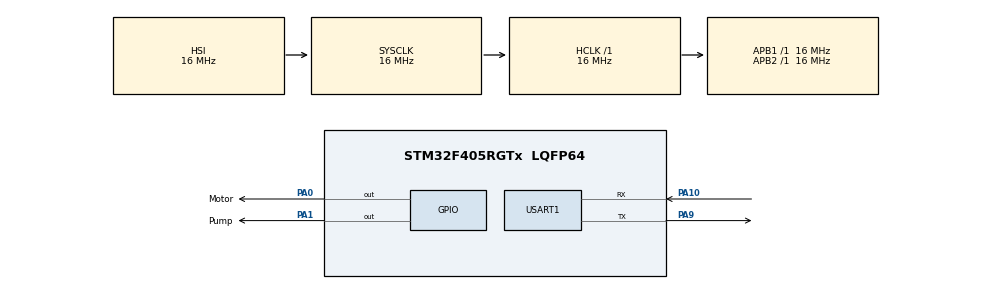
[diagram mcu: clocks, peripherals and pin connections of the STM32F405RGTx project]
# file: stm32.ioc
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FREERTOS.Tasks01=eps8266Task,24,128,StartDefaultTask,Default,NULL,Dynamic,NULL,NULL
Mcu.Family=STM32F4
Mcu.Name=STM32F405RGTx
Mcu.Package=LQFP64
NVIC.PriorityGroup=NVIC_PRIORITYGROUP_4
NVIC.TIM1_UP_TIM10_IRQn=true\:15\:0\:false\:false\:true\:false\:false\:true\:true
NVIC.TimeBase=TIM1_UP_TIM10_IRQn
NVIC.TimeBaseIP=TIM1
NVIC.USART1_IRQn=true\:5\:0\:false\:false\:true\:true\:true\:true\:true
PA0-WKUP.GPIO_Label=Motor
PA0-WKUP.Signal=GPIO_Output
PA1.GPIO_Label=Pump
PA1.Signal=GPIO_Output
PA10.Mode=Asynchronous
PA10.Signal=USART1_RX
PA13.Mode=Serial_Wire
PA13.Signal=SYS_JTMS-SWDIO
PA14.Mode=Serial_Wire
PA14.Signal=SYS_JTCK-SWCLK
PA9.Mode=Asynchronous
PA9.Signal=USART1_TX
PH0-OSC_IN.Mode=HSE-External-Oscillator
PH0-OSC_IN.Signal=RCC_OSC_IN
PH1-OSC_OUT.Mode=HSE-External-Oscillator
PH1-OSC_OUT.Signal=RCC_OSC_OUT
ProjectManager.HeapSize=0x200
ProjectManager.StackSize=0x400
ProjectManager.TargetToolchain=STM32CubeIDE
RCC.AHBFreq_Value=16000000
RCC.APB1Freq_Value=16000000
RCC.APB2Freq_Value=16000000
RCC.CortexFreq_Value=16000000
RCC.HSE_VALUE=25000000
RCC.HSI_VALUE=16000000
RCC.LSE_VALUE=32768
RCC.SYSCLKFreq_VALUE=16000000
RCC.VCOOutputFreq_Value=192000000
USART1.VirtualMode=VM_ASYNC
VP_FREERTOS_VS_CMSIS_V2.Mode=CMSIS_V2
VP_SYS_VS_tim1.Mode=TIM1
board=custom

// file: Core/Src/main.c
/* USER CODE BEGIN Header */
/**
  ******************************************************************************
  * @file           : main.c
  * @brief          : Main program body
  ******************************************************************************
  * @attention
  *
  * Copyright (c) 2026 STMicroelectronics.
  * All rights reserved.
  *
  * This software is licensed under terms that can be found in the LICENSE file
  * in the root directory of this software component.
  * If no LICENSE file comes with this software, it is provided AS-IS.
  *
  ******************************************************************************
  */
/* USER CODE END Header */
#include "main.h"
#include "cmsis_os.h"

/* USER CODE BEGIN Includes */
#include <string.h>
/* USER CODE END Includes */

/* USER CODE BEGIN PTD */
osMessageQueueId_t uartQueueHandle; // backup data
uint8_t rx_data;
/* USER CODE END PTD */

UART_HandleTypeDef huart1;

/* Definitions for eps8266Task */
osThreadId_t eps8266TaskHandle;
const osThreadAttr_t eps8266Task_attributes = {
  .name = "eps8266Task",
  .stack_size = 128 * 4,
  .priority = (osPriority_t) osPriorityNormal,
};

void SystemClock_Config(void);
static void MX_GPIO_Init(void);
static void MX_USART1_UART_Init(void);
void StartDefaultTask(void *argument);

int main(void)
{

  /* MCU Configuration--------------------------------------------------------*/

  /* Reset of all peripherals, Initializes the Flash interface and the Systick. */
  HAL_Init();

  /* Configure the system clock */
  SystemClock_Config();

  /* Initialize all configured peripherals */
  MX_GPIO_Init();
  MX_USART1_UART_Init();
  /* USER CODE BEGIN 2 */
  HAL_UART_Receive_IT(&huart1, &rx_data, 1);
  /* USER CODE END 2 */

  /* Init scheduler */
  osKernelInitialize();

  /* USER CODE BEGIN RTOS_QUEUES */
  /* add queues, ... */
  uartQueueHandle = osMessageQueueNew(64, sizeof(uint8_t), NULL);

  /* USER CODE END RTOS_QUEUES */

  /* Create the thread(s) */
  /* creation of eps8266Task */
  eps8266TaskHandle = osThreadNew(StartDefaultTask, NULL, &eps8266Task_attributes);

  /* Start scheduler */
  osKernelStart();
  /* We should never get here as control is now taken by the scheduler */
  /* Infinite loop */
  while (1)
  {

  }
}

void SystemClock_Config(void)
{
  RCC_OscInitTypeDef RCC_OscInitStruct = {0};
  RCC_ClkInitTypeDef RCC_ClkInitStruct = {0};

  /** Configure the main internal regulator output voltage
  */
  __HAL_RCC_PWR_CLK_ENABLE();
  __HAL_PWR_VOLTAGESCALING_CONFIG(PWR_REGULATOR_VOLTAGE_SCALE1);

  /** Initializes the RCC Oscillators according to the specified parameters
  * in the RCC_OscInitTypeDef structure.
  */
  RCC_OscInitStruct.OscillatorType = RCC_OSCILLATORTYPE_HSI;
  RCC_OscInitStruct.HSIState = RCC_HSI_ON;
  RCC_OscInitStruct.HSICalibrationValue = RCC_HSICALIBRATION_DEFAULT;
  RCC_OscInitStruct.PLL.PLLState = RCC_PLL_NONE;
  if (HAL_RCC_OscConfig(&RCC_OscInitStruct) != HAL_OK)
  {
    Error_Handler();
  }

  /** Initializes the CPU, AHB and APB buses clocks
  */
  RCC_ClkInitStruct.ClockType = RCC_CLOCKTYPE_HCLK|RCC_CLOCKTYPE_SYSCLK
                              |RCC_CLOCKTYPE_PCLK1|RCC_CLOCKTYPE_PCLK2;
  RCC_ClkInitStruct.SYSCLKSource = RCC_SYSCLKSOURCE_HSI;
  RCC_ClkInitStruct.AHBCLKDivider = RCC_SYSCLK_DIV1;
  RCC_ClkInitStruct.APB1CLKDivider = RCC_HCLK_DIV1;
  RCC_ClkInitStruct.APB2CLKDivider = RCC_HCLK_DIV1;

  if (HAL_RCC_ClockConfig(&RCC_ClkInitStruct, FLASH_LATENCY_0) != HAL_OK)
  {
    Error_Handler();
  }
}

static void MX_USART1_UART_Init(void)
{

  huart1.Instance = USART1;
  huart1.Init.BaudRate = 115200;
  huart1.Init.WordLength = UART_WORDLENGTH_8B;
  huart1.Init.StopBits = UART_STOPBITS_1;
  huart1.Init.Parity = UART_PARITY_NONE;
  huart1.Init.Mode = UART_MODE_TX_RX;
  huart1.Init.HwFlowCtl = UART_HWCONTROL_NONE;
  huart1.Init.OverSampling = UART_OVERSAMPLING_16;
  if (HAL_UART_Init(&huart1) != HAL_OK)
  {
    Error_Handler();
  }

}

static void MX_GPIO_Init(void)
{
  GPIO_InitTypeDef GPIO_InitStruct = {0};

  /* GPIO Ports Clock Enable */
  __HAL_RCC_GPIOH_CLK_ENABLE();
  __HAL_RCC_GPIOA_CLK_ENABLE();

  /*Configure GPIO pin Output Level */
  HAL_GPIO_WritePin(GPIOA, Motor_Pin|Pump_Pin, GPIO_PIN_RESET);

  /*Configure GPIO pins : Motor_Pin Pump_Pin */
  GPIO_InitStruct.Pin = Motor_Pin|Pump_Pin;
  GPIO_InitStruct.Mode = GPIO_MODE_OUTPUT_PP;
  GPIO_InitStruct.Pull = GPIO_NOPULL;
  GPIO_InitStruct.Speed = GPIO_SPEED_FREQ_LOW;
  HAL_GPIO_Init(GPIOA, &GPIO_InitStruct);

}

/* USER CODE BEGIN 4 */
void HAL_UART_RxCpltCallback(UART_HandleTypeDef* huart) {
	if(huart->Instance == USART1) {
		osMessageQueuePut(uartQueueHandle, &rx_data, 0, 0);
		HAL_UART_Receive_IT(&huart1, &rx_data, 1);
	}
}
/* USER CODE END 4 */

void StartDefaultTask(void *argument)
{
  /* USER CODE BEGIN 5 */
	uint8_t recive_char;
	char command_buf[32];
	int index = 0;
  /* Infinite loop */
  for(;;)
  {
	  if(osMessageQueueGet(uartQueueHandle, &recive_char, NULL, osWaitForever) == osOK) {
		  if(recive_char == '\n' || recive_char == '\r') {
			  command_buf[index] = '\0';
			  if(strstr(command_buf, "MOTOR_ON") != NULL) {
				  HAL_GPIO_WritePin(Motor_GPIO_Port, Motor_Pin, GPIO_PIN_RESET);
			  }
			  else if(strstr(command_buf, "MOTOR_OFF") != NULL) {
				  HAL_GPIO_WritePin(Motor_GPIO_Port, Motor_Pin, GPIO_PIN_SET);
			  }
			  if(strstr(command_buf, "PUMP_ON") != NULL) {
				  HAL_GPIO_WritePin(Pump_GPIO_Port, Pump_Pin, GPIO_PIN_RESET);
			  }
			  else if(strstr(command_buf, "PUMP_OFF") != NULL) {
				  HAL_GPIO_WritePin(Pump_GPIO_Port, Pump_Pin, GPIO_PIN_SET);
			  }
			  index = 0;
		  }
		  else {
			  if(index < 31) {
				  command_buf[index++] = recive_char;
			  }
		  }
	  }
  }
  /* USER CODE END 5 */
}

void HAL_TIM_PeriodElapsedCallback(TIM_HandleTypeDef *htim)
{
  if (htim->Instance == TIM1) {
    HAL_IncTick();
  }
}

void Error_Handler(void)
{
  __disable_irq();
  while (1)
  {
  }
}
